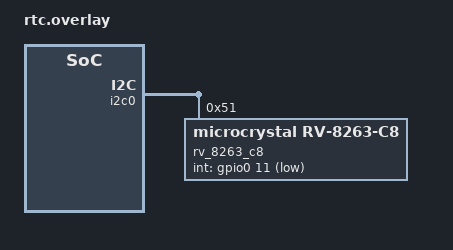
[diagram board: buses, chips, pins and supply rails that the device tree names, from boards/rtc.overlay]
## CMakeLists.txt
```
cmake_minimum_required(VERSION 3.20.0)
find_package(Zephyr REQUIRED HINTS $ENV{ZEPHYR_BASE})

project(RV-8263)

target_sources(app PRIVATE src/main.c)
```

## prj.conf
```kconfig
CONFIG_RTC=y
CONFIG_RTC_ALARM=y
CONFIG_RTC_UPDATE=y
CONFIG_RTC_CALIBRATION=y
CONFIG_RTC_LOG_LEVEL_DBG=y

CONFIG_LOG_PRINTK=y
CONFIG_LOG=y

CONFIG_DEBUG_OPTIMIZATIONS=y
CONFIG_USE_SEGGER_RTT=y
CONFIG_LOG_BACKEND_RTT=y
CONFIG_LOG_BACKEND_RTT_MODE_BLOCK=y
CONFIG_LOG_BUFFER_SIZE=4096
CONFIG_LOG_BACKEND_RTT_OUTPUT_BUFFER_SIZE=128
CONFIG_LOG_BLOCK_IN_THREAD=y
```

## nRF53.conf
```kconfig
CONFIG_CLOCK_CONTROL=y
CONFIG_CLOCK_CONTROL_NRF_K32SRC_RC=y
```

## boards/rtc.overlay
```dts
/ {
	aliases {
		rtc = &rv_8263_c8;
	};
};

&i2c0 {
	rv_8263_c8: rv-8263-c8@51 {
		compatible = "microcrystal,rv-8263-c8";
		reg = <0x51>;
		status = "okay";
		clkout = <1024>;
		int-gpios = <&gpio0 11 (GPIO_PULL_UP | GPIO_ACTIVE_LOW)>;
	};
};
```

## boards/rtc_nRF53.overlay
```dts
/ {
    aliases {
        rtc = &rv_8263_c8;
    };
};

&i2c1 {
    compatible = "nordic,nrf-twim";
    status = "okay";
    clock-frequency = <400000>;
    zephyr,concat-buf-size = <512>;

    pinctrl-0 = <&i2c1_default>;
    pinctrl-1 = <&i2c1_sleep>;
    pinctrl-names = "default", "sleep";
};

&pinctrl {
    i2c1_default: i2c1_default {
        group1 {
            psels = <NRF_PSEL(TWIM_SDA, 0, 10)>,
                    <NRF_PSEL(TWIM_SCL, 0, 7)>;
        };
    };

    i2c1_sleep: i2c1_sleep {
        group1 {
            psels = <NRF_PSEL(TWIM_SDA, 0, 10)>,
                    <NRF_PSEL(TWIM_SCL, 0, 7)>;
            low-power-enable;
        };
    };
};

&i2c1 {
    rv_8263_c8: rv-8263-c8@51 {
        compatible = "microcrystal,rv-8263-c8";
        reg = <0x51>;
        status = "okay";
        clkout = <1024>;
        int-gpios = <&gpio1 13 (GPIO_PULL_UP | GPIO_ACTIVE_LOW)>;
    };
};
```

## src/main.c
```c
#include <zephyr/kernel.h>
#include <zephyr/drivers/rtc.h>
#include <zephyr/logging/log.h>

const struct device *const rtc = DEVICE_DT_GET(DT_ALIAS(rtc));

LOG_MODULE_REGISTER(main, LOG_LEVEL_INF);

struct rtc_time time;

#if CONFIG_RTC_ALARM
static uint16_t mask;
#endif

#if CONFIG_RTC_UPDATE
void on_rtc_update(const struct device *dev, void *user_data)
{
    rtc_get_time(rtc, &time);
    LOG_INF("Time from update callback");
    LOG_INF("Seconds: %u", time.tm_sec);
    LOG_INF("Minute: %u", time.tm_min);
    LOG_INF("Hour: %u", time.tm_hour);
    LOG_INF("Weekday: %u", time.tm_wday);
    LOG_INF("Day of month: %u", time.tm_mday);
    LOG_INF("Month: %u", time.tm_mon);
    LOG_INF("Year: %u", time.tm_year);
}
#endif

#if CONFIG_RTC_ALARM
void on_rtc_alarm(const struct device *dev, uint16_t id, void *user_data)
{
    struct rtc_time alarm_time;

    LOG_INF("Alarm!");

    rtc_get_time(rtc, &alarm_time);
    alarm_time.tm_sec += 10;
    rtc_alarm_set_time(rtc, id, mask, &alarm_time);
}
#endif

int main(void)
{
    if (!device_is_ready(rtc)) {
        LOG_ERR("Device not ready!");
        return -1;
    }

    time.tm_hour = 0;
    time.tm_min = 1;
    time.tm_sec = 0;
    time.tm_wday = 0;
    time.tm_mday = 1;
    time.tm_mon = 1;
    time.tm_year = 124;
    if (rtc_set_time(rtc, &time)) {
        LOG_ERR("Can not set time!");
    }

#if CONFIG_RTC_ALARM
    uint16_t id = 0;
    struct rtc_time alarm_time;

    rtc_alarm_get_supported_fields(rtc, id, &mask);

    LOG_INF("Alarm fields: 0x%X", mask);
    LOG_INF("Alarm pending: %u", rtc_alarm_is_pending(rtc, id));

    rtc_get_time(rtc, &alarm_time);
    alarm_time.tm_sec += 10;
    if (rtc_alarm_set_time(rtc, id, mask, &alarm_time) ||  rtc_alarm_set_callback(rtc, id, on_rtc_alarm, NULL)) {
        LOG_ERR("Can not enable alarm!");
    }
#endif

#if CONFIG_RTC_UPDATE
    rtc_update_set_callback(rtc, on_rtc_update, NULL);
#endif

#if CONFIG_RTC_CALIBRATION
    int32_t calibration;

    if (rtc_set_calibration(rtc, 120000) || rtc_get_calibration(rtc, &calibration)) {
        LOG_ERR("Can not calibrate RTC!");
    }
    LOG_INF("Calibration: %i", calibration);
#endif

    while (1) {
#ifndef CONFIG_RTC_UPDATE
        rtc_get_time(rtc, &time);
        LOG_INF("Seconds: %u", time.tm_sec);
        LOG_INF("Minute: %u", time.tm_min);
        LOG_INF("Hour: %u", time.tm_hour);
        LOG_INF("Weekday: %u", time.tm_wday);
        LOG_INF("Day of month: %u", time.tm_mday);
        LOG_INF("Month: %u", time.tm_mon);
        LOG_INF("Year: %u", time.tm_year);
#endif
        k_msleep(20000);
    }

    return 0;
}
```
